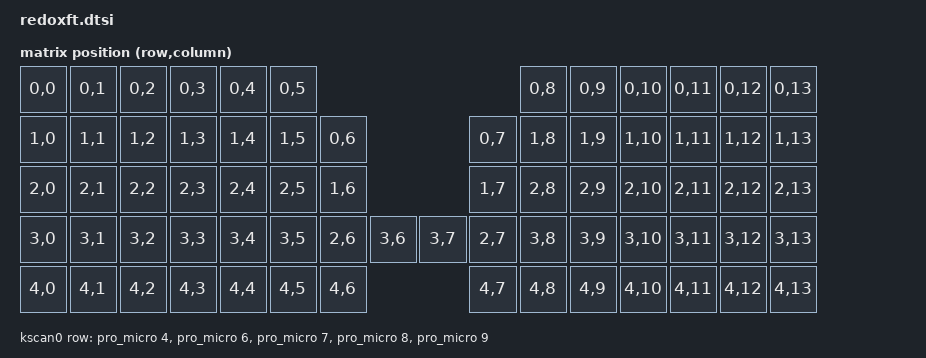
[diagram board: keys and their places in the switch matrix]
/*
 * Redox FT — wspólna definicja matrycy 5×14 (col2row)
 * Kolumny dodawane osobno w redoxft_left.overlay / redoxft_right.overlay
 */
#include <dt-bindings/zmk/matrix_transform.h>
#include "redoxft-layouts.dtsi"
/*
 * Rozszerzenie węzła: dodaj transform i kscan do fizycznego layoutu.
 * Musi być POZA blokiem / {} — to jest referencja do etykiety.
 */
&redoxft_physical_layout {
    transform = <&default_transform>;
    kscan = <&kscan0>;
};
/ {
    chosen {
        zmk,kscan = &kscan0;
        zmk,physical-layout = &redoxft_physical_layout;
    };
    /*
     * Mapowanie matrycy: 70 klawiszy
     * Kolumny 0-6  = lewa połówka
     * Kolumny 7-13 = prawa połówka (col-offset = <7> w right.overlay)
     */
    default_transform: keymap_transform_0 {
        compatible = "zmk,matrix-transform";
        columns = <14>;
        rows = <5>;
        map = <
RC(0,0) RC(0,1) RC(0,2) RC(0,3) RC(0,4) RC(0,5)                                   RC(0,8) RC(0,9)  RC(0,10) RC(0,11) RC(0,12) RC(0,13)
RC(1,0) RC(1,1) RC(1,2) RC(1,3) RC(1,4) RC(1,5) RC(0,6)               RC(0,7) RC(1,8) RC(1,9)  RC(1,10) RC(1,11) RC(1,12) RC(1,13)
RC(2,0) RC(2,1) RC(2,2) RC(2,3) RC(2,4) RC(2,5) RC(1,6)               RC(1,7) RC(2,8) RC(2,9)  RC(2,10) RC(2,11) RC(2,12) RC(2,13)
RC(3,0) RC(3,1) RC(3,2) RC(3,3) RC(3,4) RC(3,5) RC(2,6) RC(3,6)   RC(3,7) RC(2,7) RC(3,8) RC(3,9)  RC(3,10) RC(3,11) RC(3,12) RC(3,13)
RC(4,0) RC(4,1) RC(4,2) RC(4,3)      RC(4,4)    RC(4,5) RC(4,6)   RC(4,7) RC(4,8)     RC(4,9)    RC(4,10) RC(4,11) RC(4,12) RC(4,13)
        >;
    };
    kscan0: kscan_0 {
        compatible = "zmk,kscan-gpio-matrix";
        wakeup-source;
        diode-direction = "col2row";
        row-gpios
            = <&pro_micro 4 (GPIO_ACTIVE_HIGH | GPIO_PULL_DOWN)>
            , <&pro_micro 6 (GPIO_ACTIVE_HIGH | GPIO_PULL_DOWN)>
            , <&pro_micro 7 (GPIO_ACTIVE_HIGH | GPIO_PULL_DOWN)>
            , <&pro_micro 8 (GPIO_ACTIVE_HIGH | GPIO_PULL_DOWN)>
            , <&pro_micro 9 (GPIO_ACTIVE_HIGH | GPIO_PULL_DOWN)>
            ;
    };
};
